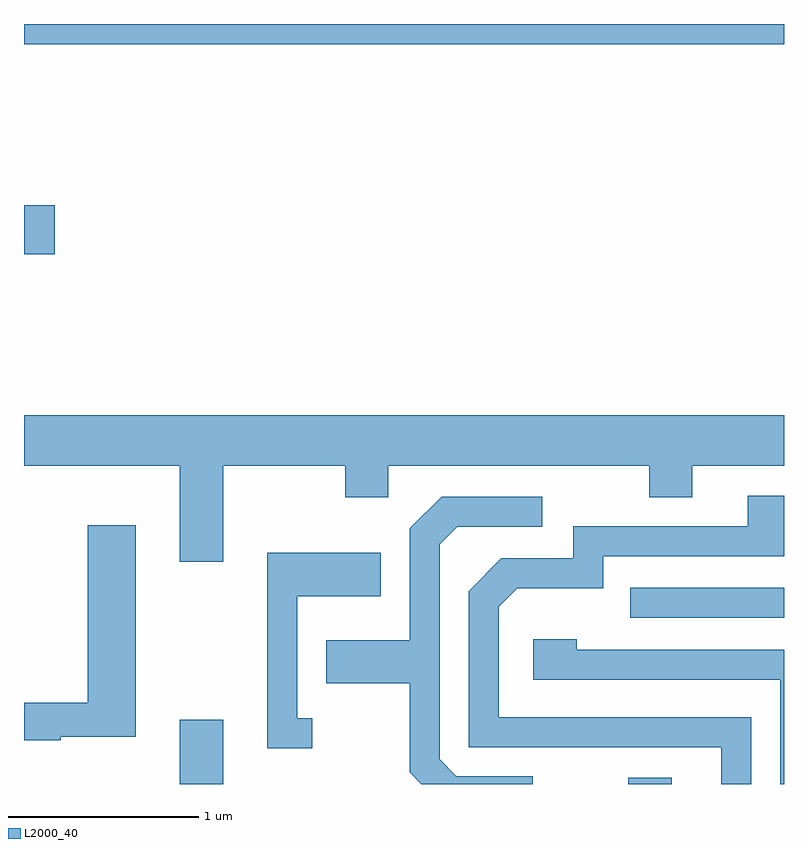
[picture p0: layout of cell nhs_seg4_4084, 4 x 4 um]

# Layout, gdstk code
import gdstk
lib = gdstk.Library(unit=1e-6, precision=1e-09)
def R(c, l, rs):  # rectangles x0, y0, x1, y1
    for r in rs: c.add(gdstk.rectangle(r[:2], r[2:], *l))
def P(c, l, *ps):  # polygons
    for p in ps: c.add(gdstk.Polygon(p, *l))
L2000_40 = (2000, 40)

nhs_seg4_4084 = lib.new_cell('nhs_seg4_4084')
R(nhs_seg4_4084, L2000_40, [(306.431,1261.982,306.659,1262.319), (308.791,1261.982,309.019,1262.014), (308.803,1262.856,309.611,1263.014), (305.611,1264.771,305.774,1265.029), (305.611,1265.876,309.611,1265.982)])
P(nhs_seg4_4084, L2000_40, [(306.659,1263.656),(307.301,1263.656),(307.301,1263.491),(307.529,1263.491),(307.529,1263.656),(308.901,1263.656),(308.901,1263.491),(309.129,1263.491),(309.129,1263.656),(309.611,1263.656),(309.611,1263.924),(305.611,1263.924),(305.611,1263.656),(306.431,1263.656),(306.431,1263.151),(306.659,1263.151)],
  [(309.439,1262.334),(308.109,1262.334),(308.109,1262.914),(308.207,1263.011),(308.659,1263.011),(308.659,1263.181),(309.611,1263.181),(309.611,1263.499),(309.421,1263.499),(309.421,1263.339),(308.501,1263.339),(308.501,1263.169),(308.124,1263.169),(307.951,1262.997),(307.951,1262.176),(309.281,1262.176),(309.281,1261.982),(309.439,1261.982)],
  [(308.288,1262.024),(307.887,1262.024),(307.799,1262.112),(307.799,1263.244),(307.892,1263.336),(308.338,1263.336),(308.338,1263.494),(307.809,1263.494),(307.641,1263.327),(307.641,1262.739),(307.201,1262.739),(307.201,1262.511),(307.641,1262.511),(307.641,1262.044),(307.703,1261.982),(308.288,1261.982)],
  [(305.804,1262.231),(306.199,1262.231),(306.199,1263.344),(305.946,1263.344),(305.946,1262.409),(305.611,1262.409),(305.611,1262.211),(305.804,1262.211)],
  [(307.128,1262.329),(307.049,1262.329),(307.049,1262.971),(307.489,1262.971),(307.489,1263.199),(306.891,1263.199),(306.891,1262.171),(307.128,1262.171)],
  [(309.611,1262.689),(308.519,1262.689),(308.519,1262.744),(308.291,1262.744),(308.291,1262.531),(309.591,1262.531),(309.591,1261.982),(309.611,1261.982)])

lib.write_gds('nhs_seg4_4084.gds')
